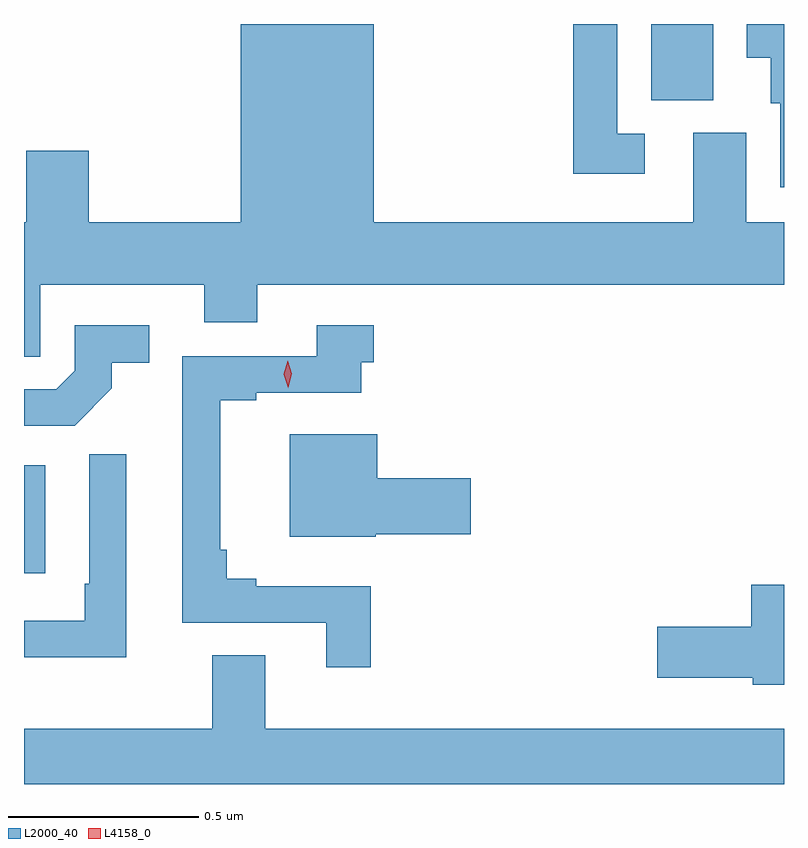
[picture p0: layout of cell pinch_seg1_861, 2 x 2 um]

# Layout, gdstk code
import gdstk
lib = gdstk.Library(unit=1e-6, precision=1e-09)
def R(c, l, rs):  # rectangles x0, y0, x1, y1
    for r in rs: c.add(gdstk.rectangle(r[:2], r[2:], *l))
def P(c, l, *ps):  # polygons
    for p in ps: c.add(gdstk.Polygon(p, *l))
L2000_40 = (2000, 40)
L4158_0 = (4158, 0)

pinch_seg1_861 = lib.new_cell('pinch_seg1_861')
R(pinch_seg1_861, L2000_40, [(464.702,570.953,464.758,571.237), (466.352,572.197,466.516,572.398)])
P(pinch_seg1_861, L2000_40, [(466.336,572.109),(466.263,572.109),(466.263,572.398),(466.147,572.398),(466.147,572.004),(466.336,572.004)],
  [(466.702,572.398),(466.604,572.398),(466.604,572.309),(466.667,572.309),(466.667,572.19),(466.692,572.19),(466.692,571.968),(466.702,571.968)],
  [(466.463,572.112),(466.463,571.876),(465.622,571.876),(465.622,572.398),(465.272,572.398),(465.272,571.876),(464.872,571.876),(464.872,572.065),(464.708,572.065),(464.708,571.876),(464.702,571.876),(464.702,571.522),(464.745,571.522),(464.745,571.712),(465.176,571.712),(465.176,571.613),(465.316,571.613),(465.316,571.712),(466.702,571.712),(466.702,571.876),(466.603,571.876),(466.603,572.112)],
  [(465.614,570.919),(465.313,570.919),(465.313,570.938),(465.236,570.938),(465.236,571.015),(465.218,571.015),(465.218,571.408),(465.313,571.408),(465.313,571.428),(465.59,571.428),(465.59,571.508),(465.622,571.508),(465.622,571.605),(465.473,571.605),(465.473,571.524),(465.119,571.524),(465.119,570.822),(465.497,570.822),(465.497,570.705),(465.614,570.705)],
  [(464.933,571.439),(464.933,571.507),(465.031,571.507),(465.031,571.605),(464.835,571.605),(464.835,571.485),(464.787,571.437),(464.702,571.437),(464.702,571.341),(464.835,571.341)],
  [(465.627,571.055),(465.877,571.055),(465.877,571.202),(465.631,571.202),(465.631,571.318),(465.401,571.318),(465.401,571.049),(465.627,571.049)],
  [(464.971,571.266),(464.874,571.266),(464.874,570.925),(464.862,570.925),(464.862,570.828),(464.702,570.828),(464.702,570.731),(464.971,570.731)],
  [(466.702,570.922),(466.616,570.922),(466.616,570.812),(466.368,570.812),(466.368,570.677),(466.62,570.677),(466.62,570.659),(466.702,570.659)],
  [(466.702,570.544),(465.337,570.544),(465.337,570.737),(465.197,570.737),(465.197,570.544),(464.702,570.544),(464.702,570.398),(466.702,570.398)])
P(pinch_seg1_861, L4158_0, [(465.397,571.441),(465.397,571.441),(465.386,571.476),(465.396,571.512),(465.396,571.512),(465.396,571.512),(465.406,571.477),(465.397,571.441)])

lib.write_gds('pinch_seg1_861.gds')
